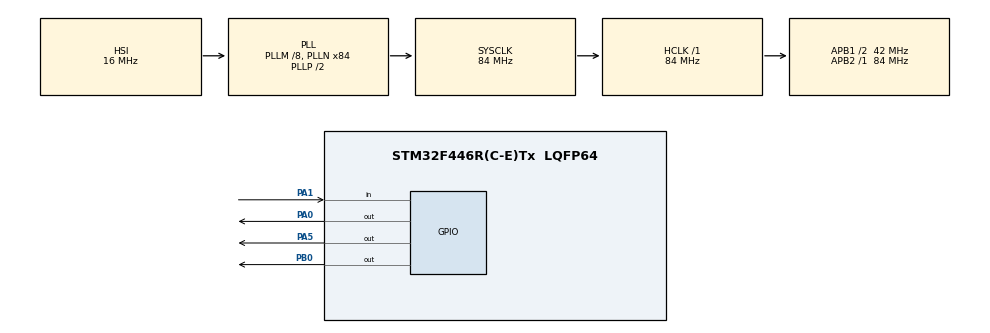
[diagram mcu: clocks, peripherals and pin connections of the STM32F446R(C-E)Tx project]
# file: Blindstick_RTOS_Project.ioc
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FREERTOS.Queues01=DistanceQueue,16,uint16_t,0,Dynamic,NULL,NULL
FREERTOS.Tasks01=UltrasonicTask,40,128,StartUltrasonicTask,Default,NULL,Dynamic,NULL,NULL;AlertTask,24,128,StartAlertTask,Default,NULL,Dynamic,NULL,NULL;BuzzerTask,8,128,StartBuzzerTask,Default,NULL,Dynamic,NULL,NULL
Mcu.Family=STM32F4
Mcu.Name=STM32F446R(C-E)Tx
Mcu.Package=LQFP64
NVIC.PriorityGroup=NVIC_PRIORITYGROUP_4
PA0-WKUP.Signal=GPIO_Output
PA1.Signal=GPIO_Input
PA5.Signal=GPIO_Output
PB0.Signal=GPIO_Output
ProjectManager.HeapSize=0x200
ProjectManager.StackSize=0x400
ProjectManager.TargetToolchain=STM32CubeIDE
RCC.AHBFreq_Value=84000000
RCC.APB1CLKDivider=RCC_HCLK_DIV2
RCC.APB1Freq_Value=42000000
RCC.APB1TimFreq_Value=84000000
RCC.APB2Freq_Value=84000000
RCC.APB2TimFreq_Value=84000000
RCC.CortexFreq_Value=84000000
RCC.HCLKFreq_Value=84000000
RCC.PLLM=8
RCC.PLLN=84
RCC.SYSCLKFreq_VALUE=84000000
RCC.SYSCLKSource=RCC_SYSCLKSOURCE_PLLCLK
RCC.USBFreq_Value=84000000
RCC.VCOOutputFreq_Value=168000000
VP_FREERTOS_VS_CMSIS_V2.Mode=CMSIS_V2
board=custom

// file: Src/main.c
/* USER CODE BEGIN Header */
/**
  ******************************************************************************
  * @file           : main.c
  * @brief          : Main program body
  ******************************************************************************
  */
/* USER CODE END Header */

#include "main.h"
#include "cmsis_os.h"

/* Definitions for UltrasonicTask */
osThreadId_t UltrasonicTaskHandle;
const osThreadAttr_t UltrasonicTask_attributes = {
  .name = "UltrasonicTask",
  .stack_size = 128 * 4,
  .priority = (osPriority_t) osPriorityHigh,
};

/* Definitions for AlertTask */
osThreadId_t AlertTaskHandle;
const osThreadAttr_t AlertTask_attributes = {
  .name = "AlertTask",
  .stack_size = 128 * 4,
  .priority = (osPriority_t) osPriorityNormal,
};

/* Definitions for BuzzerTask */
osThreadId_t BuzzerTaskHandle;
const osThreadAttr_t BuzzerTask_attributes = {
  .name = "BuzzerTask",
  .stack_size = 128 * 4,
  .priority = (osPriority_t) osPriorityLow,
};

/* Definitions for DistanceQueue */
osMessageQueueId_t DistanceQueueHandle;
const osMessageQueueAttr_t DistanceQueue_attributes = {
  .name = "DistanceQueue"
};

/* USER CODE BEGIN PV */

uint16_t distance = 0;
uint16_t receivedDistance = 0;

volatile uint32_t alertDelay = 500;

/* USER CODE END PV */

void SystemClock_Config(void);
static void MX_GPIO_Init(void);

void StartUltrasonicTask(void *argument);
void StartAlertTask(void *argument);
void StartBuzzerTask(void *argument);

/* USER CODE BEGIN PFP */

void delay_us(uint16_t us);
uint16_t Read_Distance(void);

/* USER CODE END PFP */

/* USER CODE BEGIN 0 */

void delay_us(uint16_t us)
{
  uint32_t start = DWT->CYCCNT;
  uint32_t ticks = us * (HAL_RCC_GetHCLKFreq() / 1000000);

  while((DWT->CYCCNT - start) < ticks);
}

uint16_t Read_Distance(void)
{
  uint32_t time = 0;

  HAL_GPIO_WritePin(GPIOA, GPIO_PIN_0, GPIO_PIN_RESET);
  delay_us(2);

  HAL_GPIO_WritePin(GPIOA, GPIO_PIN_0, GPIO_PIN_SET);
  delay_us(10);

  HAL_GPIO_WritePin(GPIOA, GPIO_PIN_0, GPIO_PIN_RESET);

  while(HAL_GPIO_ReadPin(GPIOA, GPIO_PIN_1) == GPIO_PIN_RESET);

  DWT->CYCCNT = 0;

  while(HAL_GPIO_ReadPin(GPIOA, GPIO_PIN_1) == GPIO_PIN_SET);

  time = DWT->CYCCNT / (HAL_RCC_GetHCLKFreq() / 1000000);

  return (time * 0.034) / 2;
}

/* USER CODE END 0 */

int main(void)
{
  HAL_Init();

  SystemClock_Config();

  MX_GPIO_Init();

  /* USER CODE BEGIN 2 */

  CoreDebug->DEMCR |= CoreDebug_DEMCR_TRCENA_Msk;
  DWT->CTRL |= DWT_CTRL_CYCCNTENA_Msk;

  /* USER CODE END 2 */

  /* Init scheduler */
  osKernelInitialize();

  /* Create the queue */
  DistanceQueueHandle = osMessageQueueNew(16,
                                          sizeof(uint16_t),
                                          &DistanceQueue_attributes);

  /* Create the threads */
  UltrasonicTaskHandle = osThreadNew(StartUltrasonicTask,
                                     NULL,
                                     &UltrasonicTask_attributes);

  AlertTaskHandle = osThreadNew(StartAlertTask,
                                NULL,
                                &AlertTask_attributes);

  BuzzerTaskHandle = osThreadNew(StartBuzzerTask,
                                 NULL,
                                 &BuzzerTask_attributes);

  /* Start scheduler */
  osKernelStart();

  while (1)
  {
  }
}

void SystemClock_Config(void)
{
  RCC_OscInitTypeDef RCC_OscInitStruct = {0};
  RCC_ClkInitTypeDef RCC_ClkInitStruct = {0};

  __HAL_RCC_PWR_CLK_ENABLE();
  __HAL_PWR_VOLTAGESCALING_CONFIG(PWR_REGULATOR_VOLTAGE_SCALE3);

  RCC_OscInitStruct.OscillatorType = RCC_OSCILLATORTYPE_HSI;
  RCC_OscInitStruct.HSIState = RCC_HSI_ON;
  RCC_OscInitStruct.HSICalibrationValue = RCC_HSICALIBRATION_DEFAULT;

  RCC_OscInitStruct.PLL.PLLState = RCC_PLL_ON;
  RCC_OscInitStruct.PLL.PLLSource = RCC_PLLSOURCE_HSI;
  RCC_OscInitStruct.PLL.PLLM = 8;
  RCC_OscInitStruct.PLL.PLLN = 84;
  RCC_OscInitStruct.PLL.PLLP = RCC_PLLP_DIV2;
  RCC_OscInitStruct.PLL.PLLQ = 2;
  RCC_OscInitStruct.PLL.PLLR = 2;r

  if (HAL_RCC_OscConfig(&RCC_OscInitStruct) != HAL_OK)
  {
    Error_Handler();
  }

  RCC_ClkInitStruct.ClockType = RCC_CLOCKTYPE_HCLK |
                                RCC_CLOCKTYPE_SYSCLK |
                                RCC_CLOCKTYPE_PCLK1 |
                                RCC_CLOCKTYPE_PCLK2;

  RCC_ClkInitStruct.SYSCLKSource = RCC_SYSCLKSOURCE_PLLCLK;

  RCC_ClkInitStruct.AHBCLKDivider = RCC_SYSCLK_DIV1;
  RCC_ClkInitStruct.APB1CLKDivider = RCC_HCLK_DIV2;
  RCC_ClkInitStruct.APB2CLKDivider = RCC_HCLK_DIV1;

  if (HAL_RCC_ClockConfig(&RCC_ClkInitStruct,
                          FLASH_LATENCY_2) != HAL_OK)
  {
    Error_Handler();
  }
}

static void MX_GPIO_Init(void)
{
  GPIO_InitTypeDef GPIO_InitStruct = {0};

  __HAL_RCC_GPIOA_CLK_ENABLE();
  __HAL_RCC_GPIOB_CLK_ENABLE();

  HAL_GPIO_WritePin(GPIOA,
                    GPIO_PIN_0 | GPIO_PIN_5,
                    GPIO_PIN_RESET);

  HAL_GPIO_WritePin(GPIOB,
                    GPIO_PIN_0,
                    GPIO_PIN_RESET);

  /* PA0 = TRIG , PA5 = BUZZER */
  GPIO_InitStruct.Pin = GPIO_PIN_0 | GPIO_PIN_5;
  GPIO_InitStruct.Mode = GPIO_MODE_OUTPUT_PP;
  GPIO_InitStruct.Pull = GPIO_NOPULL;
  GPIO_InitStruct.Speed = GPIO_SPEED_FREQ_LOW;

  HAL_GPIO_Init(GPIOA, &GPIO_InitStruct);

  /* PA1 = ECHO */
  GPIO_InitStruct.Pin = GPIO_PIN_1;
  GPIO_InitStruct.Mode = GPIO_MODE_INPUT;
  GPIO_InitStruct.Pull = GPIO_NOPULL;

  HAL_GPIO_Init(GPIOA, &GPIO_InitStruct);

  /* PB0 = LED */
  GPIO_InitStruct.Pin = GPIO_PIN_0;
  GPIO_InitStruct.Mode = GPIO_MODE_OUTPUT_PP;
  GPIO_InitStruct.Pull = GPIO_NOPULL;
  GPIO_InitStruct.Speed = GPIO_SPEED_FREQ_LOW;

  HAL_GPIO_Init(GPIOB, &GPIO_InitStruct);
}

void StartUltrasonicTask(void *argument)
{
  for(;;)
  {
    distance = Read_Distance();

    osMessageQueuePut(DistanceQueueHandle,
                      &distance,
                      0,
                      0);

    osDelay(100);
  }
}

void StartAlertTask(void *argument)
{
  for(;;)
  {
    if(osMessageQueueGet(DistanceQueueHandle,
                         &receivedDistance,
                         NULL,
                         osWaitForever) == osOK)
    {
      if(receivedDistance < 20)
      {
        alertDelay = 100;
      }

      else if(receivedDistance < 50)
      {
        alertDelay = 300;
      }

      else
      {
        alertDelay = 700;
      }
    }
  }
}

void StartBuzzerTask(void *argument)
{
  for(;;)
  {
    HAL_GPIO_WritePin(GPIOA,
                      GPIO_PIN_5,
                      GPIO_PIN_SET);

    HAL_GPIO_WritePin(GPIOB,
                      GPIO_PIN_0,
                      GPIO_PIN_SET);

    osDelay(alertDelay);

    HAL_GPIO_WritePin(GPIOA,
                      GPIO_PIN_5,
                      GPIO_PIN_RESET);

    HAL_GPIO_WritePin(GPIOB,
                      GPIO_PIN_0,
                      GPIO_PIN_RESET);

    osDelay(alertDelay);
  }
}

void Error_Handler(void)
{
  __disable_irq();

  while (1)
  {
  }
}
